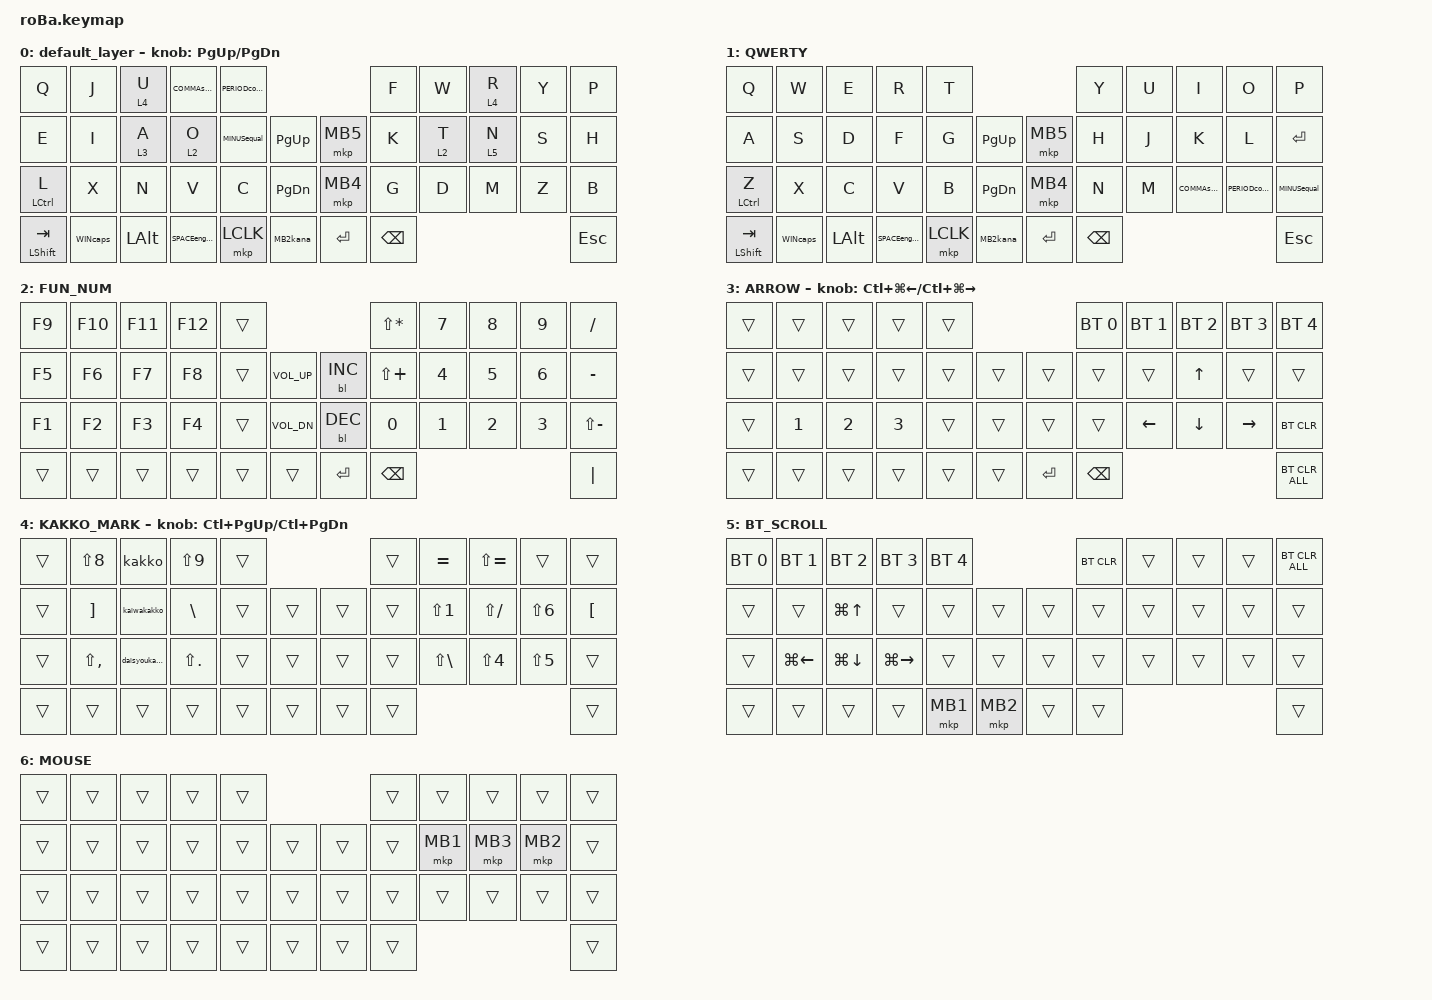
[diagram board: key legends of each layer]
#include <behaviors.dtsi>
#include <dt-bindings/zmk/backlight.h>
#include <dt-bindings/zmk/bt.h>
#include <dt-bindings/zmk/keys.h>
#include <dt-bindings/zmk/pointing.h>

&mt {
    flavor = "balanced";
    quick-tap-ms = <0>;
};

&trackball {
    automouse-layer = <4>;
    scroll-layers = <5>;

    // arrows {
    //     layers = <3>;
    //     bindings =
    //         <&kp RIGHT_ARROW>,
    //         <&kp LEFT_ARROW>,
    //         <&kp UP_ARROW>,
    //         <&kp DOWN_ARROW>;
    //     tick = <10>;
    //     wait-ms = <5>;
    //     tap-ms = <5>;
    // };
};

/ {
    combos {
        compatible = "zmk,combos";

        double_quotation {
            bindings = <&kp DOUBLE_QUOTES>;
            key-positions = <4 3>;
        };

        taskMangr {
            bindings = <&kp C_AL_TASK_MANAGER>;
            key-positions = <22 36 23>;
        };

        bootloader {
            bindings = <&bootloader>;
            key-positions = <0 9>;
        };

        bootloaderL {
            bindings = <&bootloader>;
            key-positions = <0 34 4>;
        };

        bootloaderR {
            bindings = <&bootloader>;
            key-positions = <5 9 42>;
        };

        toggle_QWERTY {
            bindings = <&tog 1>;
            key-positions = <15 16>;
        };
    };

    macros {
        to_layer_0: to_layer_0 {
            compatible = "zmk,behavior-macro-one-param";
            #binding-cells = <1>;
            bindings = <&to 0 &macro_param_1to1 &kp MACRO_PLACEHOLDER>;
            label = "TO_LAYER_0";
        };

        kakko: kakko {
            compatible = "zmk,behavior-macro";
            #binding-cells = <0>;
            bindings =
                <&kp LS(N8)>,
                <&macro_wait_time 15>,
                <&kp LS(N9)>,
                <&macro_wait_time 15>,
                <&kp ENTER>,
                <&macro_wait_time 15>,
                <&kp LEFT_ARROW>;

            label = "KAKKO";
        };

        kaiwakakko: kaiwakakko {
            compatible = "zmk,behavior-macro";
            #binding-cells = <0>;
            bindings =
                <&kp LBKT>,
                <&macro_wait_time 15>,
                <&kp RBKT>,
                <&macro_wait_time 15>,
                <&kp ENTER>,
                <&macro_wait_time 15>,
                <&kp LEFT_ARROW>;

            label = "KAIWAKAKKO";
        };

        daisyoukakko: daisyoukakko {
            compatible = "zmk,behavior-macro";
            #binding-cells = <0>;
            bindings =
                <&kp LS(COMMA)>,
                <&macro_wait_time 15>,
                <&kp LS(DOT)>,
                <&macro_wait_time 15>,
                <&kp ENTER>,
                <&macro_wait_time 15>,
                <&kp LEFT_ARROW>;

            label = "DAISYOUKAKKO";
        };
    };

    behaviors {
        lt_to_layer_0: lt_to_layer_0 {
            compatible = "zmk,behavior-hold-tap";
            label = "LAYER_TAP_TO_0";
            bindings = <&mo>, <&to_layer_0>;

            #binding-cells = <2>;
            tapping-term-ms = <200>;
        };

        MB2kana: MB2kana {
            compatible = "zmk,behavior-tap-dance";
            label = "MB2KANA";
            #binding-cells = <0>;
            bindings = <&mkp MB2>, <&kp LANG1>;
        };

        COMMAsemicolon: COMMAsemicolon {
            compatible = "zmk,behavior-tap-dance";
            label = "COMMASEMICOLON";
            #binding-cells = <0>;
            bindings = <&kp COMMA>, <&kp SEMICOLON>;
        };

        PERIODcolon: PERIODcolon {
            compatible = "zmk,behavior-tap-dance";
            label = "PERIODCOLON";
            #binding-cells = <0>;
            bindings = <&kp PERIOD>, <&kp SINGLE_QUOTE>;
        };

        MINUSequal: MINUSequal {
            compatible = "zmk,behavior-tap-dance";
            label = "MINUSEQUAL";
            #binding-cells = <0>;
            bindings = <&kp MINUS>, <&kp LS(MINUS)>;
        };

        SPACEenglish: SPACEenglish {
            compatible = "zmk,behavior-tap-dance";
            label = "SPACEENGLISH";
            #binding-cells = <0>;
            bindings = <&kp SPACE>, <&kp LANG2>;
        };

        WINcaps: WINcaps {
            compatible = "zmk,behavior-tap-dance";
            label = "WINCAPS";
            #binding-cells = <0>;
            bindings = <&kp LEFT_GUI>, <&kp CAPSLOCK>;
        };
    };

    keymap {
        compatible = "zmk,keymap";

        default_layer {
            bindings = <
&kp Q               &kp J     &lt 4 U       &COMMAsemicolon  &PERIODcolon                               &kp F     &kp W    &lt 4 R  &kp Y  &kp P
&kp E               &kp I     &lt 3 A       &lt 2 O          &MINUSequal   &kp PG_UP          &mkp MB5  &kp K     &lt 2 T  &lt 5 N  &kp S  &kp H
&mt LCTRL L         &kp X     &kp N         &kp V            &kp C         &kp PAGE_DOWN      &mkp MB4  &kp G     &kp D    &kp M    &kp Z  &kp B
&mt LEFT_SHIFT TAB  &WINcaps  &kp LEFT_ALT  &SPACEenglish    &mkp LCLK     &MB2kana           &kp RET   &kp BSPC                           &kp ESC
            >;

            sensor-bindings = <&inc_dec_kp PG_UP PAGE_DOWN>;
        };

        QWERTY {
            bindings = <
&kp Q           &kp W     &kp E     &kp R          &kp T                                &kp Y     &kp U  &kp I            &kp O         &kp P
&kp A           &kp S     &kp D     &kp F          &kp G      &kp PG_UP      &mkp MB5   &kp H     &kp J  &kp K            &kp L         &kp ENTER
&mt LCTRL Z     &kp X     &kp C     &kp V          &kp B      &kp PG_DN      &mkp MB4   &kp N     &kp M  &COMMAsemicolon  &PERIODcolon  &MINUSequal
&mt LSHIFT TAB  &WINcaps  &kp LALT  &SPACEenglish  &mkp LCLK  &MB2kana       &kp ENTER  &kp BSPC                                        &kp ESC
            >;
        };

        FUN_NUM {
            bindings = <
&kp F9  &kp F10  &kp F11  &kp F12  &trans                                   &kp LS(STAR)   &kp N7  &kp N8  &kp N9  &kp FSLH
&kp F5  &kp F6   &kp F7   &kp F8   &trans  &kp C_VOLUME_UP      &bl BL_INC  &kp LS(PLUS)   &kp N4  &kp N5  &kp N6  &kp MINUS
&kp F1  &kp F2   &kp F3   &kp F4   &trans  &kp C_VOL_DN         &bl BL_DEC  &kp N0         &kp N1  &kp N2  &kp N3  &kp LS(MINUS)
&trans  &trans   &trans   &trans   &trans  &trans               &kp ENTER   &kp BACKSPACE                          &kp PIPE
            >;
        };

        ARROW {
            bindings = <
&trans  &trans        &trans        &trans        &trans                       &bt BT_SEL 0  &bt BT_SEL 1  &bt BT_SEL 2  &bt BT_SEL 3  &bt BT_SEL 4
&trans  &trans        &trans        &trans        &trans  &trans      &trans   &trans        &trans        &kp UP        &trans        &trans
&trans  &kp NUMBER_1  &kp NUMBER_2  &kp NUMBER_3  &trans  &trans      &trans   &trans        &kp LEFT      &kp DOWN      &kp RIGHT     &bt BT_CLR
&trans  &trans        &trans        &trans        &trans  &trans      &kp RET  &kp BSPC                                                &bt BT_CLR_ALL
            >;

           sensor-bindings =
               <&inc_dec_kp LC(LG(LEFT_ARROW)) LC(LG(RIGHT_ARROW))>;
        };

        KAKKO_MARK {
            bindings = <
&trans  &kp LS(N8)     &kakko         &kp LS(N9)   &trans                      &trans  &kp EQUAL     &kp LS(EQUAL)  &trans            &trans
&trans  &kp RBKT       &kaiwakakko    &kp BSLH     &trans  &trans      &trans  &trans  &kp LS(N1)    &kp LS(SLASH)  &kp LS(NUMBER_6)  &kp LBKT
&trans  &kp LS(COMMA)  &daisyoukakko  &kp LS(DOT)  &trans  &trans      &trans  &trans  &kp LS(BSLH)  &kp LS(N4)     &kp LS(N5)        &trans
&trans  &trans         &trans         &trans       &trans  &trans      &trans  &trans                                                 &trans
            >;

            sensor-bindings = <&inc_dec_kp LC(PAGE_UP) LC(PAGE_DOWN)>;
        };

        BT_SCROLL {
            bindings = <
&bt BT_SEL 0  &bt BT_SEL 1        &bt BT_SEL 2        &bt BT_SEL 3         &bt BT_SEL 4                        &bt BT_CLR  &trans  &trans  &trans  &bt BT_CLR_ALL
&trans        &trans              &kp LG(UP_ARROW)    &trans               &trans        &trans        &trans  &trans      &trans  &trans  &trans  &trans
&trans        &kp LG(LEFT_ARROW)  &kp LG(DOWN_ARROW)  &kp LG(RIGHT_ARROW)  &trans        &trans        &trans  &trans      &trans  &trans  &trans  &trans
&trans        &trans              &trans              &trans               &mkp MB1      &mkp MB2      &trans  &trans                              &trans
            >;
        };

        MOUSE {
            bindings = <
&trans  &trans  &trans  &trans  &trans                      &trans  &trans    &trans    &trans    &trans
&trans  &trans  &trans  &trans  &trans  &trans      &trans  &trans  &mkp MB1  &mkp MB3  &mkp MB2  &trans
&trans  &trans  &trans  &trans  &trans  &trans      &trans  &trans  &trans    &trans    &trans    &trans
&trans  &trans  &trans  &trans  &trans  &trans      &trans  &trans                                &trans
            >;
        };
    };
};
